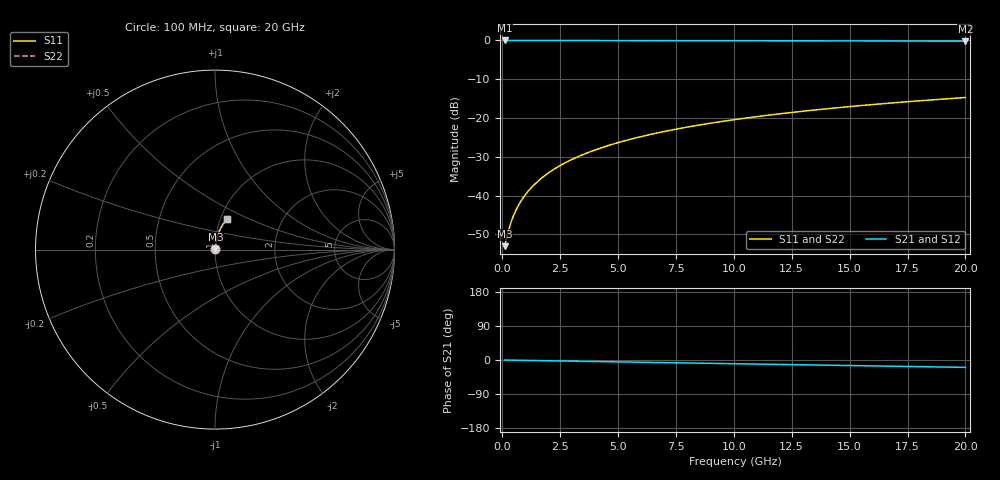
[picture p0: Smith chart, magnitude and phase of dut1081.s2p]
! Touchstone file exported from HFSS 2026.1.0
!  File:  C:/ffzhzh/LocalFiles/Ansys_Project_Files/temp_train_TMRDL_1081_1783160909_22436.aedt
!  Generated:  06:29:42 PM Jul  4, 2026
!  Design:  TMRDL
!  Project:  temp_train_TMRDL_1081_1783160909_22436
! Variables:
!  h_bsmrdl = 2um
!  h_ox = 20um
!  h_rdl = 5um
!  h_sub = 80um
!  h_tmrdl = 2.15um
!  h_tsv = 80um
!  h_via = 3um
!  l_bsmrdl = 300um
!  l_sub = 648.53um
!  l_tmrdl = 248.53um
!  m_sub = 200um
!  pitch = 49.23um
!  r_tsv = 6um
!  s_tmrdl = 10um
!  w_bsmrdl = 18um
!  w_sub = 500um
!  w_tmrdl = 26.99um
!  x_tsv_center1 = 262.025um
!  x_tsv_center2 = 580.025um
!  x_tsv_center3 = 855.545um
!  x_tsv_center4 = 1173.545um
!  x_tsv_center5 = 1449.065um
!  x_tsv_center6 = 1767.065um
# GHz S MA R 50.000000
! Terminal data exported
! Port[1] = TM_RDL1_1_T1
! Port[2] = TM_RDL1_1_T2
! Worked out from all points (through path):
!   200 points, 100 MHz to 20 GHz, reference 50 ohm
!   highest |S21| = -0.02 dB at 100 MHz (marker M1); lowest = -0.2 dB at 20 GHz (marker M2)
!   group delay of S21, straight-line fit = 2.7 ps
!   lowest |S11| = -53.0 dB at 100 MHz (marker M3), VSWR 1.00, Z = 50.2 + j0.109 ohm
!   |S11| at or under -10 dB: start of sweep to end of sweep
!   |S22| runs from -53.0 to -14.7 dB; largest |S21 - S12| = 3e-15
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0.1  0.002234 29.1  0.998 -0.1  0.998 -0.1  0.002234 29.1
! Gamma 0 0 0 0
! Port Impedance 50 0 50 0
0.3  0.00382 56.7  0.9979 -0.3  0.9979 -0.3  0.00382 56.7
0.4  0.004741 62.4  0.9978 -0.4  0.9978 -0.4  0.004741 62.4
0.5  0.005671 66.2  0.9977 -0.5  0.9977 -0.5  0.005671 66.2
0.6  0.006601 68.8  0.9977 -0.6  0.9977 -0.6  0.006601 68.8
0.8  0.008454 72.5  0.9975 -0.8  0.9975 -0.8  0.008454 72.5
1.1  0.01124 75.8  0.9974 -1.1  0.9974 -1.1  0.01124 75.8
1.3  0.0131 77.3  0.9973 -1.3  0.9973 -1.3  0.0131 77.3
1.6  0.01591 78.8  0.9972 -1.6  0.9972 -1.6  0.01591 78.8
2.1  0.02063 80.3  0.9971 -2.1  0.9971 -2.1  0.02063 80.3
2.7  0.02633 81.3  0.9969 -2.7  0.9969 -2.7  0.02633 81.3
3.5  0.03394 81.7  0.9966 -3.5  0.9966 -3.5  0.03394 81.7
4.2  0.04061 81.7  0.9962 -4.2  0.9962 -4.2  0.04061 81.7
5  0.04821 81.4  0.9958 -5.0  0.9958 -5.0  0.04821 81.4
5.9  0.05674 81.0  0.9952 -5.8  0.9952 -5.8  0.05674 81.0
6.8  0.06524 80.4  0.9946 -6.7  0.9946 -6.7  0.06524 80.4
8.3  0.07931 79.3  0.9933 -8.2  0.9933 -8.2  0.07931 79.3
10.1  0.09602 77.8  0.9916 -10.0  0.9916 -10.0  0.09602 77.8
11.7  0.1107 76.4  0.9898 -11.5  0.9898 -11.5  0.1107 76.4
13.4  0.1261 74.8  0.9876 -13.2  0.9876 -13.2  0.1261 74.8
16.7  0.1553 71.8  0.9829 -16.3  0.9829 -16.3  0.1553 71.8
20  0.1836 68.8  0.9775 -19.4  0.9775 -19.4  0.1836 68.8
